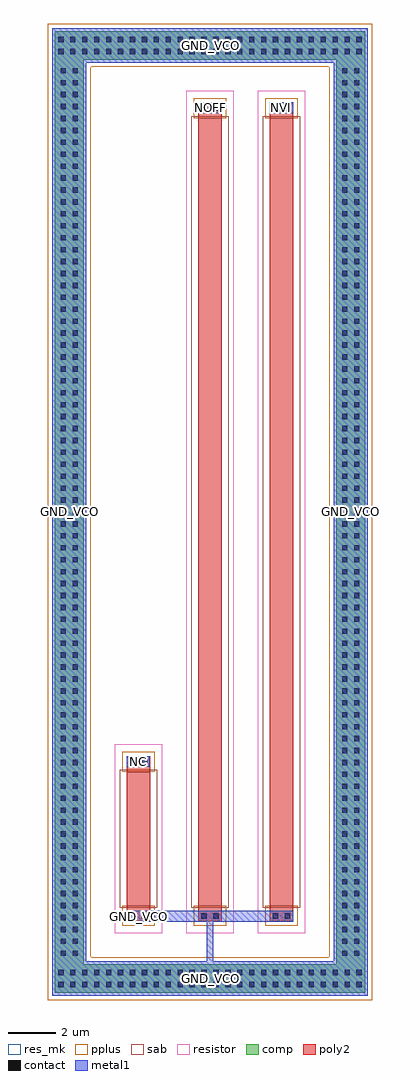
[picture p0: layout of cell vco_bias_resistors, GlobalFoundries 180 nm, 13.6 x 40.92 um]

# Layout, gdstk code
import gdstk
lib = gdstk.Library(unit=1e-6, precision=1e-09)
def R(c, l, rs):  # rectangles x0, y0, x1, y1
    for r in rs: c.add(gdstk.rectangle(r[:2], r[2:], *l))
def A(c, l, x, y, w, h, nx, ny, dx, dy):  # array of equal rectangles
    R(c, l, [(x+i*dx, y+j*dy, x+i*dx+w, y+j*dy+h) for i in range(nx) for j in range(ny)])
comp = (22, 0)
poly2 = (30, 0)
pplus = (31, 0)
contact = (33, 0)
metal1 = (34, 0)
sab = (49, 0)
resistor = (62, 0)
res_mk = (110, 5)

vco_bias_resistors = lib.new_cell('vco_bias_resistors')
R(vco_bias_resistors, comp, [(-3,-3.66,10,-2.46), (-3,-2.46,-1.8,35.46), (8.8,-2.46,10,35.46), (-3,35.46,10,36.66)])
R(vco_bias_resistors, poly2, [(0,-0.66,1,6.26), (3,-0.66,4,33.66), (6,-0.66,7,33.66)])
A(vco_bias_resistors, pplus, -0.18, -0.84, 1.36, 0.84, 3, 1, 3, 0)
R(vco_bias_resistors, pplus, [(-3.3,-3.96,10.3,-2.16), (-3.3,-2.76,-1.5,35.76), (8.5,-2.76,10.3,35.76), (-0.18,5.6,1.18,6.44), (2.82,33,4.18,33.84), (5.82,33,7.18,33.84), (-3.3,35.16,10.3,36.96)])
A(vco_bias_resistors, contact, -2.86, -3.42, 0.22, 0.22, 26, 2, 0.5, 0.5)
A(vco_bias_resistors, contact, -2.76, -2.11, 0.22, 0.22, 1, 75, 0, 0.5)
A(vco_bias_resistors, contact, -2.26, -2.11, 0.22, 0.22, 1, 75, 0, 0.5)
A(vco_bias_resistors, contact, 9.04, -2.11, 0.22, 0.22, 1, 75, 0, 0.5)
A(vco_bias_resistors, contact, 9.54, -2.11, 0.22, 0.22, 1, 75, 0, 0.5)
A(vco_bias_resistors, contact, -2.86, 35.7, 0.22, 0.22, 26, 2, 0.5, 0.5)
R(vco_bias_resistors, contact, [(0.14,-0.55,0.36,-0.33), (0.64,-0.55,0.86,-0.33), (3.14,-0.55,3.36,-0.33), (3.64,-0.55,3.86,-0.33), (6.14,-0.55,6.36,-0.33), (6.64,-0.55,6.86,-0.33), (0.14,5.93,0.36,6.15), (0.64,5.93,0.86,6.15), (3.14,33.33,3.36,33.55), (3.64,33.33,3.86,33.55), (6.14,33.33,6.36,33.55), (6.64,33.33,6.86,33.55)])
A(vco_bias_resistors, metal1, 0.02, -0.67, 0.96, 0.46, 3, 1, 3, 0)
R(vco_bias_resistors, metal1, [(-3.12,-3.78,10.12,-2.34), (-3.12,-2.58,-1.68,35.58), (8.68,-2.58,10.12,35.58), (3.36,-2.46,3.64,-0.67), (0,-0.67,7,-0.21), (0.02,5.81,0.98,6.27), (3.02,33.21,3.98,33.67), (6.02,33.21,6.98,33.67), (-3.12,35.34,10.12,36.78)])
R(vco_bias_resistors, sab, [(-0.28,-0.1,1.28,5.7), (2.72,-0.1,4.28,33.1), (5.72,-0.1,7.28,33.1)])
R(vco_bias_resistors, resistor, [(-0.5,-1.16,1.5,6.76), (2.5,-1.16,4.5,34.16), (5.5,-1.16,7.5,34.16)])
R(vco_bias_resistors, res_mk, [(0,0,1,5.6), (3,0,4,33), (6,0,7,33)])
vco_bias_resistors.add(gdstk.Label('NC', (0.5,6.04), layer=34, texttype=10))
vco_bias_resistors.add(gdstk.Label('NOFF', (3.5,33.44), layer=34, texttype=10))
vco_bias_resistors.add(gdstk.Label('NVI', (6.5,33.44), layer=34, texttype=10))
vco_bias_resistors.add(gdstk.Label('GND_VCO', (0.5,-0.44), layer=34, texttype=10))
vco_bias_resistors.add(gdstk.Label('GND_VCO', (3.5,36.06), layer=34, texttype=10))
vco_bias_resistors.add(gdstk.Label('GND_VCO', (3.5,-3.06), layer=34, texttype=10))
vco_bias_resistors.add(gdstk.Label('GND_VCO', (-2.4,16.5), layer=34, texttype=10))
vco_bias_resistors.add(gdstk.Label('GND_VCO', (9.4,16.5), layer=34, texttype=10))

lib.write_gds('vco_bias_resistors.gds')
